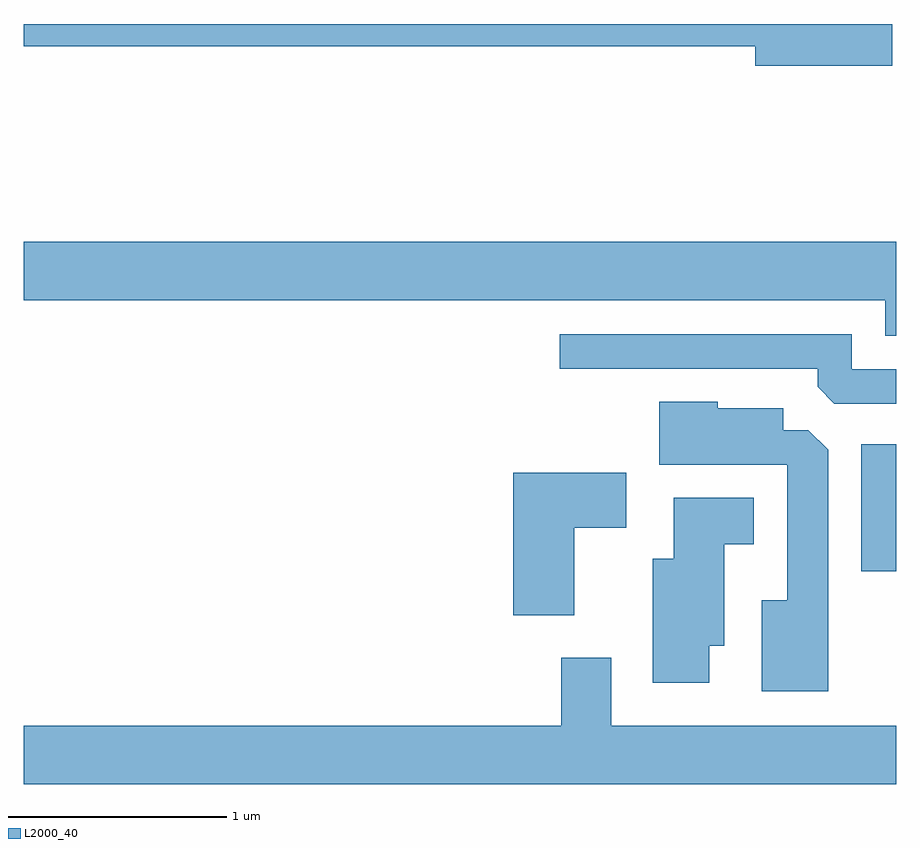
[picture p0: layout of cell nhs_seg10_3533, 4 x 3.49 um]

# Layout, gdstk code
import gdstk
lib = gdstk.Library(unit=1e-6, precision=1e-09)
def R(c, l, rs):  # rectangles x0, y0, x1, y1
    for r in rs: c.add(gdstk.rectangle(r[:2], r[2:], *l))
def P(c, l, *ps):  # polygons
    for p in ps: c.add(gdstk.Polygon(p, *l))
L2000_40 = (2000, 40)

nhs_seg10_3533 = lib.new_cell('nhs_seg10_3533')
R(nhs_seg10_3533, L2000_40, [(293.451,2106.011,293.611,2106.594)])
P(nhs_seg10_3533, L2000_40, [(293.594,2108.522),(289.611,2108.522),(289.611,2108.421),(292.966,2108.421),(292.966,2108.331),(293.594,2108.331)],
  [(293.611,2107.524),(289.611,2107.524),(289.611,2107.256),(293.561,2107.256),(293.561,2107.091),(293.611,2107.091)],
  [(293.611,2106.939),(293.409,2106.939),(293.409,2107.099),(292.068,2107.099),(292.068,2106.941),(293.251,2106.941),(293.251,2106.857),(293.327,2106.781),(293.611,2106.781)],
  [(293.299,2106.569),(293.209,2106.659),(293.094,2106.659),(293.094,2106.759),(292.794,2106.759),(292.794,2106.789),(292.526,2106.789),(292.526,2106.501),(293.111,2106.501),(293.111,2105.879),(292.996,2105.879),(292.996,2105.461),(293.299,2105.461)],
  [(292.134,2106.211),(292.374,2106.211),(292.374,2106.464),(291.856,2106.464),(291.856,2105.811),(292.134,2105.811)],
  [(292.754,2105.671),(292.824,2105.671),(292.824,2106.136),(292.959,2106.136),(292.959,2106.349),(292.591,2106.349),(292.591,2106.069),(292.496,2106.069),(292.496,2105.501),(292.754,2105.501)],
  [(293.611,2105.304),(292.304,2105.304),(292.304,2105.614),(292.076,2105.614),(292.076,2105.304),(289.611,2105.304),(289.611,2105.036),(293.611,2105.036)])

lib.write_gds('nhs_seg10_3533.gds')
